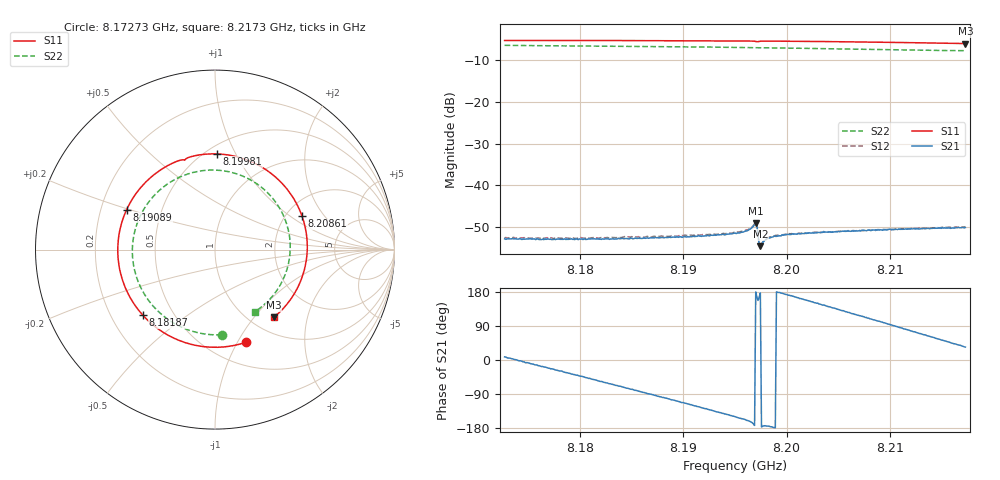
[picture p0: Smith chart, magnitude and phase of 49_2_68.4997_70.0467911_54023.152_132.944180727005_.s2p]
#  HZ  S  RI  R  50.00
! Rohde & Schwarz Vector Network Analyzer
! Rohde-Schwarz,ZNB20-2Port,1311601062101988,3.16
! Created: UTC 3/20/2024, 5:05:55 PM
! freq[Hz]  re:S11  im:S11  re:S21  im:S21  re:S12  im:S12  re:S22  im:S22
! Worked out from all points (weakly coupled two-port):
!   401 points, 8.17273 GHz to 8.2173 GHz, reference 50 ohm
!   highest |S21| = -49.05 dB at 8.19702 GHz (marker M1); lowest = -54.6 dB at 8.19747 GHz (marker M2)
!   lowest |S11| = -6.0 dB at 8.2173 GHz (marker M3), VSWR 3.00, Z = 63 - j63.5 ohm
!   |S11| at or under -10 dB: nowhere
!   |S22| runs from -7.7 to -6.5 dB; largest |S21 - S12| = 0.0002
!   S11 on the Smith chart (normalised r, x): 8.17273 GHz: 0.74, -1.08; 8.18187 GHz: 0.34, -0.35; 8.19089 GHz: 0.31, +0.20; 8.19981 GHz: 0.57, +0.84; 8.20861 GHz: 2.43, +1.24; 8.2173 GHz: 1.26, -1.27
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8.172727e9  0.1716 -0.5166  0.00225 0.000326  0.0023 0.000352  0.0378 -0.4743
8.176405e9  -0.0767 -0.5388  0.00216 -0.000662  0.00219 -0.00069  -0.1676 -0.4402
8.180193e9  -0.3165 -0.4421  0.00166 -0.00155  0.00167 -0.00164  -0.3413 -0.3185
8.181865e9  -0.4025 -0.365  0.00126 -0.00186  0.00129 -0.00191  -0.3964 -0.2433
8.184874e9  -0.5093 -0.1869  0.000527 -0.00224  0.000532 -0.00231  -0.4539 -0.0866
8.18766e9  -0.5418 0.00374  -0.000251 -0.00232  -0.000305 -0.00242  -0.4542 0.0678
8.190891e9  -0.4923 0.2228  -0.00118 -0.00211  -0.00129 -0.00214  -0.3905 0.2347
8.195015e9  -0.3071 0.4414  -0.00229 -0.00136  -0.0024 -0.00125  -0.2242 0.3902
8.196129e9  -0.2384 0.4806  -0.00264 -0.001  -0.00277 -0.000925  -0.1672 0.4158
8.196909e9  -0.184 0.5  -0.00336 -0.000428  -0.00344 -0.000289  -0.1252 0.4292
8.19702e9  -0.1754 0.5001  -0.00353 3.25e-05  -0.00364 0.000194  -0.119 0.4306
8.197466e9  -0.1561 0.5096  -0.00186 0.000102  -0.00189 0.000205  -0.0946 0.4357
8.197578e9  -0.148 0.5131  -0.00195 -0.000113  -0.00192 2.36e-05  -0.0885 0.4369
8.198358e9  -0.0925 0.5267  -0.00232 -0.000195  -0.0024 -9.43e-05  -0.0446 0.4423
8.199806e9  0.0102 0.5331  -0.00253 0.000271  -0.00254 0.000372  0.0375 0.4402
8.202481e9  0.194 0.4932  -0.00241 0.00119  -0.00239 0.0013  0.1833 0.3962
8.205824e9  0.3851 0.3565  -0.00169 0.00225  -0.0016 0.0023  0.3317 0.2728
8.20861e9  0.4848 0.1866  -0.000744 0.00282  -0.000663 0.00279  0.4043 0.1254
8.209947e9  0.5081 0.0941  -0.000214 0.00297  -0.000168 0.00293  0.418 0.046
8.21173e9  0.5119 -0.0332  0.000554 0.00294  0.000658 0.00292  0.4124 -0.0622
8.213513e9  0.4839 -0.1578  0.00127 0.00274  0.00136 0.00274  0.379 -0.1673
8.217302e9  0.3273 -0.3779  0.00257 0.00174  0.00269 0.00169  0.2222 -0.3459
